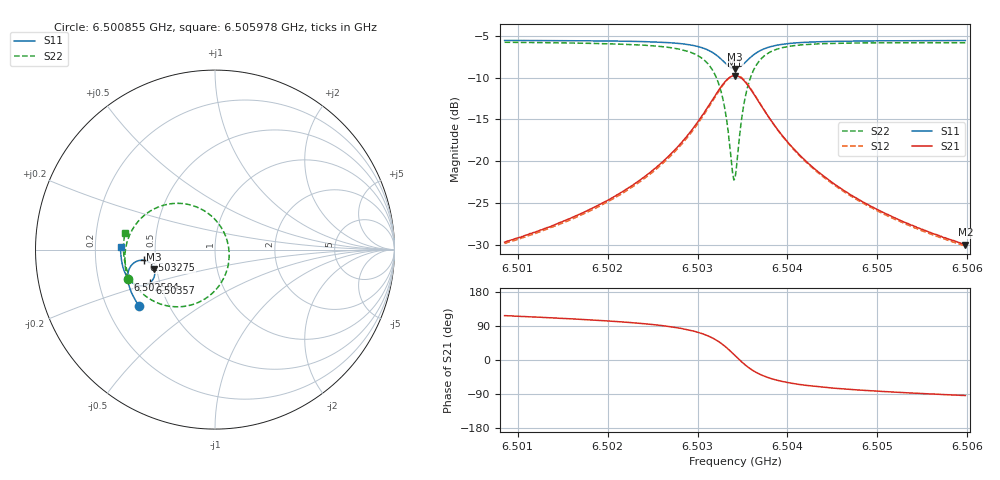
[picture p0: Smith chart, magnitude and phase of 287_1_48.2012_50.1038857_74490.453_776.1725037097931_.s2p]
#  HZ  S  RI  R  50.00
! Rohde & Schwarz Vector Network Analyzer
! Rohde-Schwarz,ZNB20-2Port,1311601062101988,3.16
! Created: UTC 3/20/2024, 11:48:54 AM
! freq[Hz]  re:S11  im:S11  re:S21  im:S21  re:S12  im:S12  re:S22  im:S22
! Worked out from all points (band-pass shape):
!   401 points, 6.500855 GHz to 6.505978 GHz, reference 50 ohm
!   highest |S21| = -9.76 dB at 6.503416 GHz (marker M1); lowest = -30.0 dB at 6.505978 GHz (marker M2)
!   |S21| within 3 dB of the highest: 6.50316 GHz to 6.503672 GHz (512.7 kHz wide, 0.00788 % of centre)
!   lowest |S11| = -9.0 dB at 6.503416 GHz (marker M3), VSWR 2.10, Z = 24.2 - j6.04 ohm
!   |S11| at or under -10 dB: nowhere
!   |S22| runs from -22.2 to -5.8 dB; largest |S21 - S12| = 0.011
!   S11 on the Smith chart (normalised r, x): 6.500855 GHz: 0.34, -0.30; 6.502584 GHz: 0.33, -0.15; 6.503275 GHz: 0.43, -0.06; 6.50357 GHz: 0.44, -0.20; 6.505978 GHz: 0.31, +0.01
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6.5008547e9  -0.4218 -0.3152  -0.0149 0.0293  -0.0133 0.0294  -0.4871 -0.1628
6.5017128e9  -0.4594 -0.2527  -0.0145 0.0468  -0.0121 0.0464  -0.502 -0.0729
6.5021483e9  -0.4751 -0.2148  -0.0121 0.0639  -0.00917 0.0629  -0.5003 -0.0131
6.502571e9  -0.4859 -0.1694  -0.00296 0.095  0.000709 0.0927  -0.4811 0.0682
6.5025838e9  -0.486 -0.1676  -0.00231 0.0963  0.00123 0.0939  -0.4798 0.0712
6.5028271e9  -0.4853 -0.1325  0.0161 0.1293  0.0198 0.1255  -0.4414 0.1407
6.5030064e9  -0.4739 -0.0994  0.0506 0.1654  0.0538 0.16  -0.373 0.2067
6.5031729e9  -0.4391 -0.0664  0.1279 0.1985  0.1292 0.1922  -0.231 0.2571
6.5032754e9  -0.3966 -0.0596  0.2131 0.1895  0.2133 0.1841  -0.0829 0.2289
6.5033266e9  -0.3713 -0.0683  0.261 0.1615  0.2619 0.1569  -0.00309 0.1716
6.5033907e9  -0.3449 -0.0945  0.3082 0.0983  0.3107 0.0933  0.0678 0.0497
6.5034163e9  -0.3387 -0.109  0.3183 0.0663  0.3214 0.0605  0.0784 -0.00957
6.5034291e9  -0.3366 -0.1166  0.3209 0.0498  0.3241 0.0434  0.0788 -0.04
6.503506e9  -0.3427 -0.161  0.304 -0.044  0.3058 -0.0536  0.0213 -0.2034
6.50357e9  -0.3637 -0.1866  0.2615 -0.0973  0.2603 -0.1084  -0.0744 -0.2852
6.5036725e9  -0.4028 -0.2016  0.1877 -0.1331  0.1825 -0.1423  -0.2224 -0.3185
6.503839e9  -0.4485 -0.1918  0.1071 -0.1301  0.1003 -0.135  -0.3676 -0.2725
6.5040183e9  -0.4755 -0.1704  0.0631 -0.1102  0.0571 -0.1125  -0.4388 -0.2081
6.5042744e9  -0.4961 -0.1404  0.0336 -0.0864  0.029 -0.0868  -0.4816 -0.1367
6.5046715e9  -0.512 -0.0995  0.0144 -0.0631  0.0112 -0.0626  -0.5044 -0.06
6.5051326e9  -0.5211 -0.0573  0.00491 -0.0472  0.00277 -0.0465  -0.5099 0.00369
6.5059779e9  -0.5259 0.0139  -0.00206 -0.0317  -0.00339 -0.0309  -0.5017 0.092
